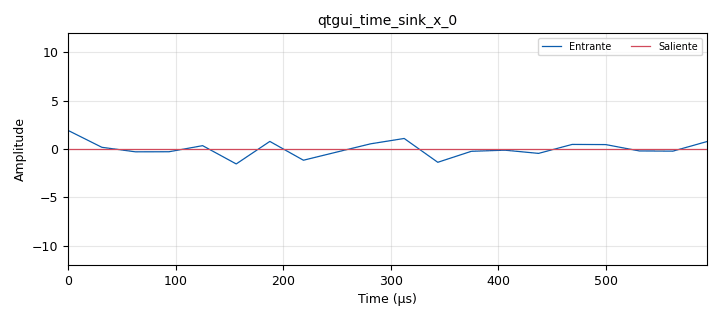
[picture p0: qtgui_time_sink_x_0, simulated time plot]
options:
  parameters:
    author: Bryan
    copyright: UIS
    description: ejemplo de un acumulador
    generate_options: qt_gui
    id: miprimer
    output_language: python
    title: miprimer
  states: {}

blocks:
- name: samp_rate
  id: variable
  parameters:
    value: '32000'
  states: {}
- name: analog_noise_source_x_0
  id: analog_noise_source_x
  parameters:
    amp: '1'
    noise_type: analog.GR_GAUSSIAN
    seed: '0'
    type: float
  states: {}
- name: analog_sig_source_x_0
  id: analog_sig_source_x
  parameters:
    amp: '1'
    freq: '1000'
    offset: '0'
    phase: '0'
    samp_rate: samp_rate
    type: float
    waveform: analog.GR_COS_WAVE
  states: {state: disabled}
- name: blocks_vector_source_x_0
  id: blocks_vector_source_x
  parameters:
    repeat: 'True'
    type: float
    vector: (1, 4, -2, -3)
  states: {state: disabled}
- name: epy_block_0
  id: epy_block
  parameters:
    _source_code: "import numpy as np\nfrom gnuradio import gr\n\n\nclass blk(gr.sync_block):  \n    \n\n    def __init__(self,):  \n        \"\"\"Bloque acumulador simplemente toma la senal entrante y entrega acumulada\"\"\"\n        gr.sync_block.__init__(\n            self,\n            name='Promedio_tiempo',   \n            in_sig=[np.float32],\n            out_sig=[np.float32]\n        )\n        self.acum_anterior=0\n        self.Ntotal=0\n        \n    def work(self, input_items, output_items):\n        x=input_items[0]\n        y=output_items[0]\n        N=len(x)\n        self.Ntotal += N\n        Acumulado=self.acum_anterior+np.cumsum(x)\n        self.acum_anterior=Acumulado[-1]\n        y[:]=Acumulado/self.Ntotal\n        return len(x)\n        \n\n"
  states: {}
- name: qtgui_number_sink_0
  id: qtgui_number_sink
  parameters:
    graph_type: qtgui.NUM_GRAPH_HORIZ
    name: '"El promerio es:"'
    type: float
  states: {}
- name: qtgui_time_sink_x_0
  id: qtgui_time_sink_x
  parameters:
    label1: Entrante
    label2: Saliente
    nconnections: '2'
    size: '20'
    srate: samp_rate
    type: float
    width1: '4'
    width2: '2'
    ymax: '12'
    ymin: '-12'
  states: {}

connections:
- [analog_noise_source_x_0, '0', epy_block_0, '0']
- [analog_noise_source_x_0, '0', qtgui_time_sink_x_0, '0']
- [analog_sig_source_x_0, '0', epy_block_0, '0']
- [analog_sig_source_x_0, '0', qtgui_time_sink_x_0, '0']
- [blocks_vector_source_x_0, '0', epy_block_0, '0']
- [blocks_vector_source_x_0, '0', qtgui_time_sink_x_0, '0']
- [epy_block_0, '0', qtgui_number_sink_0, '0']
- [epy_block_0, '0', qtgui_time_sink_x_0, '1']

metadata:
  file_format: 1
